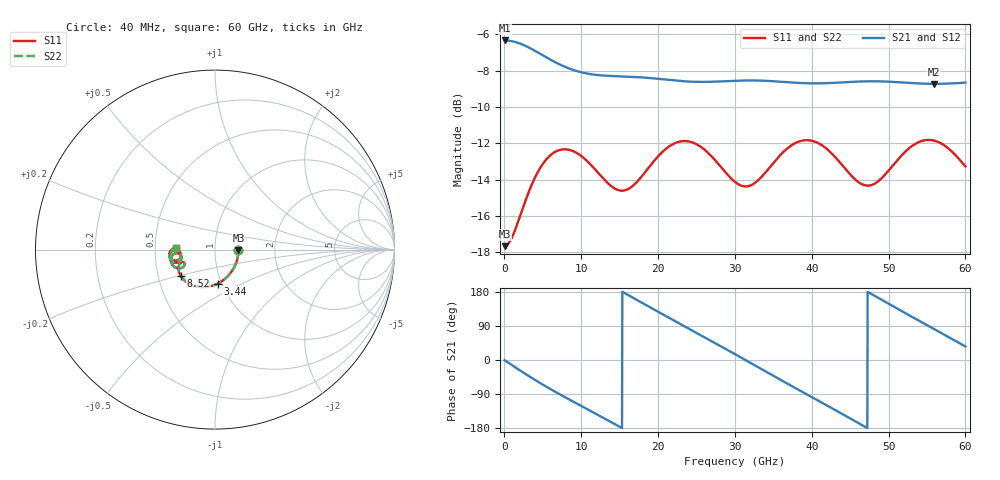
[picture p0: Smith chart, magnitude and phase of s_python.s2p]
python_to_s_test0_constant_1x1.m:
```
clc; clear; close all;

frequency = 40e6:40e6:60e9; num_freq = size(frequency, 2);
length = 1;
matrix_sizes = 1;
R = zeros(matrix_sizes,matrix_sizes,num_freq) + 50;
L = zeros(matrix_sizes,matrix_sizes,num_freq) + 1e-9;
G = zeros(matrix_sizes,matrix_sizes,num_freq) + 0.01;
C = zeros(matrix_sizes,matrix_sizes,num_freq) + 1e-12;

S1 = rlgc2s(R, L, G, C, length, frequency, 50); % real rlgc2s()
S2 = sparameters('s_python.s2p').Parameters;

plot_s_params(S1, 'Matlab rlgc2s()', S2, 'Python rlgc2s()', matrix_sizes, frequency, 1e9, 'Frequency [GHz]', 1)
```
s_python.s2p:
! Created with skrf (http://scikit-rf.org).
# Hz S MA R 50.0
!freq magS11 angS11 magS21 angS21 magS12 angS12 magS22 angS22
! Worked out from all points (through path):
!   1500 points, 40 MHz to 60 GHz, reference 50 ohm
!   highest |S21| = -6.34 dB at 40 MHz (marker M1); lowest = -8.7 dB at 55.96 GHz (marker M2)
!   group delay of S21, straight-line fit = 31.4 ps
!   lowest |S11| = -17.7 dB at 40 MHz (marker M3), VSWR 1.30, Z = 65 - j0.383 ohm
!   |S11| at or under -10 dB: start of sweep to end of sweep
!   |S22| runs from -17.7 to -11.8 dB; largest |S21 - S12| = 5.5e-16
!   S11 on the Smith chart (normalised r, x): 40 MHz: 1.30, -0.01; 3.44 GHz: 0.96, -0.38; 8.52 GHz: 0.66, -0.21; 60 GHz: 0.64, +0.01
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4e7  0.1308 -1.3  0.482 -0.5  0.482 -0.5  0.1308 -1.3
3.44e9  0.1903 -85.7  0.458 -45.7  0.458 -45.7  0.1903 -85.7
8.52e9  0.2407 -142.1  0.4029 -105.0  0.4029 -105.0  0.2407 -142.1
1.52e10  0.186 -156.4  0.3839 -178.3  0.3839 -178.3  0.186 -156.4
2.16e10  0.2474 -157.5  0.3748 109.5  0.3748 109.5  0.2474 -157.5
3.004e10  0.1964 -172.2  0.3733 15.2  0.3733 15.2  0.1964 -172.2
3.424e10  0.2118 -160.9  0.373 -32.9  0.373 -32.9  0.2118 -160.9
4e10  0.2552 -172.2  0.3672 -97.8  0.3672 -97.8  0.2552 -172.2
4.772e10  0.1926 -170.3  0.3721 174.8  0.3721 174.8  0.1926 -170.3
5.596e10  0.2553 -175.2  0.3661 81.2  0.3661 81.2  0.2553 -175.2
6e10  0.2168 178.3  0.3689 35.8  0.3689 35.8  0.2168 178.3
